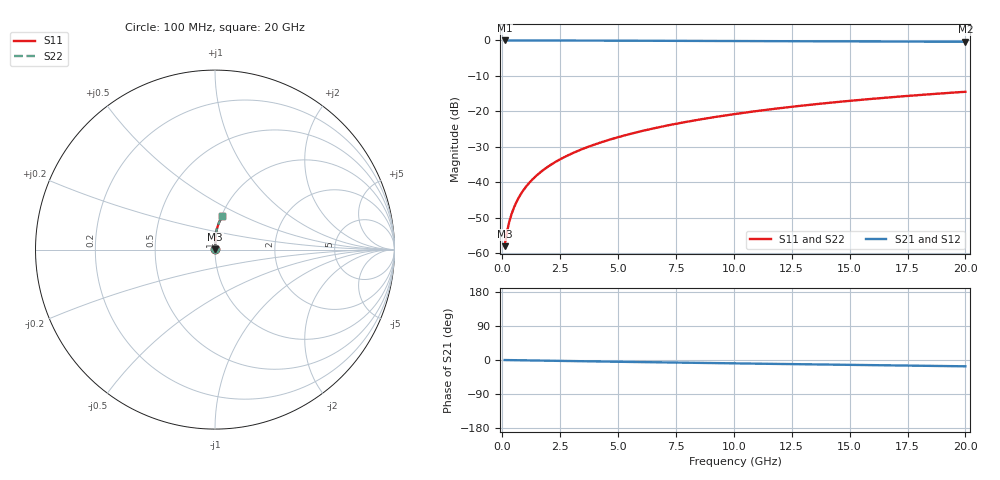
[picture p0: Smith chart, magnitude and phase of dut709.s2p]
! Touchstone file exported from HFSS 2024.1.0
!  File:  C:/UserFiles/LocalFiles/RDL_TSV_Batchsim/temp_RDL_bottom_709_1779857946.aedt
!  Generated:  01:01:30 PM May 27, 2026
!  Design:  RDL_bottom
!  Project:  temp_RDL_bottom_709_1779857946
!  Setup:  Setup1
!  Solution:  Sweep
! Variables:
!  dtsv = 10.80580581um
!  hbump = 3um
!  htsv = 79.52um
!  ldown = 195.57um
!  lrdl = 100um
!  p = 40
!  p1 = 55um
!  rhole = 1um
!  t = 450um
!  tdown = 4.4um
!  trdl = 3.915915916um
!  wdown = 22.3um
!  wrdl = 20um
# GHz S MA R 50.000000
! Terminal data exported
! Port[1] = RDL1_T1
! Port[2] = RDL1_T2
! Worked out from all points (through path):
!   200 points, 100 MHz to 20 GHz, reference 50 ohm
!   highest |S21| = -0.01 dB at 100 MHz (marker M1); lowest = -0.4 dB at 20 GHz (marker M2)
!   group delay of S21, straight-line fit = 2.29 ps
!   lowest |S11| = -58.0 dB at 100 MHz (marker M3), VSWR 1.00, Z = 50.1 + j0.0899 ohm
!   |S11| at or under -10 dB: start of sweep to end of sweep
!   |S22| runs from -58.0 to -14.5 dB; largest |S21 - S12| = 2.1e-15
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0.1  0.001257 45.5  0.9991 -0.1  0.9991 -0.1  0.001257 45.5
! Gamma 0 0 0 0
! Port Impedance 50 0 50 0
0.2  0.001988 62.3  0.9991 -0.2  0.9991 -0.2  0.001988 62.3
0.3  0.002769 69.7  0.999 -0.3  0.999 -0.3  0.002769 69.7
0.4  0.003563 74.0  0.9989 -0.4  0.9989 -0.4  0.003563 74.0
0.5  0.004366 76.8  0.9989 -0.5  0.9989 -0.5  0.004366 76.8
0.6  0.005177 78.8  0.9988 -0.6  0.9988 -0.6  0.005177 78.8
0.8  0.006813 81.5  0.9987 -0.8  0.9987 -0.8  0.006813 81.5
1.1  0.009292 83.9  0.9985 -1.1  0.9985 -1.1  0.009292 83.9
1.5  0.01263 85.6  0.9982 -1.4  0.9982 -1.4  0.01263 85.6
1.8  0.01515 86.5  0.9979 -1.7  0.9979 -1.7  0.01515 86.5
2.1  0.01769 87.1  0.9976 -2.0  0.9976 -2.0  0.01769 87.1
2.7  0.02282 87.9  0.9967 -2.6  0.9967 -2.6  0.02282 87.9
3.5  0.02979 88.6  0.9954 -3.3  0.9954 -3.3  0.02979 88.6
4.2  0.036 88.9  0.994 -3.9  0.994 -3.9  0.036 88.9
5  0.04325 89.0  0.9924 -4.7  0.9924 -4.7  0.04325 89.0
5.9  0.05158 88.9  0.9903 -5.4  0.9903 -5.4  0.05158 88.9
6.8  0.06008 88.7  0.9883 -6.2  0.9883 -6.2  0.06008 88.7
8.4  0.07552 87.9  0.9845 -7.6  0.9845 -7.6  0.07552 87.9
10.1  0.09223 86.7  0.9806 -8.9  0.9806 -8.9  0.09222 86.7
13.4  0.1249 84.0  0.973 -11.6  0.973 -11.6  0.1249 84.0
16.7  0.1573 81.0  0.9653 -14.1  0.9653 -14.1  0.1573 81.0
20  0.1889 78.1  0.9575 -16.7  0.9575 -16.7  0.1889 78.1
